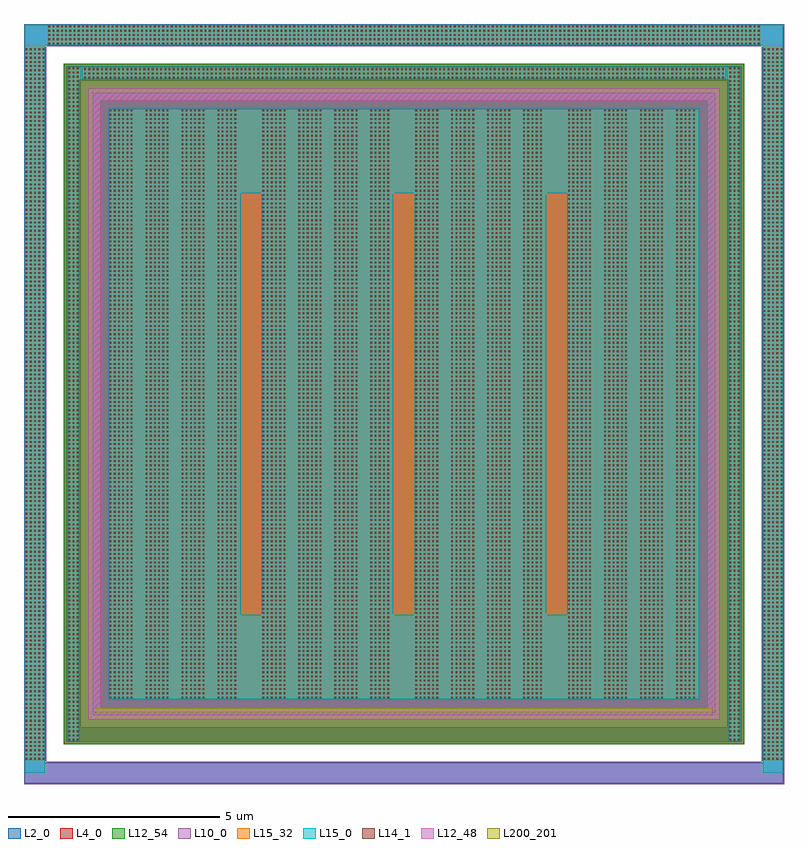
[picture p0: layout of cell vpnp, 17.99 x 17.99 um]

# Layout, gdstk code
import gdstk
lib = gdstk.Library(unit=1e-6, precision=1e-09)
def R(c, l, rs):  # rectangles x0, y0, x1, y1
    for r in rs: c.add(gdstk.rectangle(r[:2], r[2:], *l))
def A(c, l, x, y, w, h, nx, ny, dx, dy):  # array of equal rectangles
    R(c, l, [(x+i*dx, y+j*dy, x+i*dx+w, y+j*dy+h) for i in range(nx) for j in range(ny)])
L2_0 = (2, 0)
L4_0 = (4, 0)
L10_0 = (10, 0)
L12_48 = (12, 48)
L12_54 = (12, 54)
L14_1 = (14, 1)
L15_0 = (15, 0)
L15_32 = (15, 32)
L200_201 = (200, 201)

vpnp = lib.new_cell('vpnp')
R(vpnp, L2_0, [(-15.479,-7.509,2.473,-7.029), (-15.479,-7.029,-14.999,9.963), (1.993,-7.029,2.473,9.963), (-14.499,-6.529,1.493,-6.189), (-14.499,-6.189,-14.159,9.123), (1.153,-6.189,1.493,9.123), (-13.803,-5.833,0.797,8.767), (-14.499,9.123,1.493,9.463), (-15.479,9.963,2.473,10.443)])
R(vpnp, L4_0, [(-14.555,-6.585,1.549,9.519)])
R(vpnp, L10_0, [(-15.5,-7.53,2.494,-7.008), (-15.5,-7.008,-14.978,9.942), (1.972,-7.008,2.494,9.942), (-13.873,-5.903,0.867,8.837), (-15.5,9.942,2.494,10.464)])
R(vpnp, L12_48, [(-13.984,-6.014,0.978,-5.708), (-13.984,-5.708,-13.678,8.642), (0.672,-5.708,0.978,8.642), (-13.984,8.642,0.978,8.948)])
R(vpnp, L12_54, [(-14.555,-6.585,1.549,9.519)])
A(vpnp, L14_1, -15.459, -6.953, 0.04, 0.04, 5, 169, 0.1, 0.1)
A(vpnp, L14_1, 2.013, -6.953, 0.04, 0.04, 5, 169, 0.1, 0.1)
A(vpnp, L14_1, -14.449, -6.503, 0.04, 0.04, 3, 160, 0.1, 0.1)
A(vpnp, L14_1, 1.203, -6.503, 0.04, 0.04, 3, 160, 0.1, 0.1)
A(vpnp, L14_1, -13.473, -5.503, 0.04, 0.04, 6, 140, 0.1, 0.1)
A(vpnp, L14_1, -12.621, -5.503, 0.04, 0.04, 6, 140, 0.1, 0.1)
A(vpnp, L14_1, -11.769, -5.503, 0.04, 0.04, 6, 140, 0.1, 0.1)
A(vpnp, L14_1, -10.917, -5.503, 0.04, 0.04, 5, 140, 0.1, 0.1)
A(vpnp, L14_1, -9.854, -5.503, 0.04, 0.04, 6, 140, 0.1, 0.1)
A(vpnp, L14_1, -9.002, -5.503, 0.04, 0.04, 6, 140, 0.1, 0.1)
A(vpnp, L14_1, -8.15, -5.503, 0.04, 0.04, 6, 140, 0.1, 0.1)
A(vpnp, L14_1, -7.298, -5.503, 0.04, 0.04, 5, 140, 0.1, 0.1)
A(vpnp, L14_1, -6.235, -5.503, 0.04, 0.04, 6, 140, 0.1, 0.1)
A(vpnp, L14_1, -5.383, -5.503, 0.04, 0.04, 6, 140, 0.1, 0.1)
A(vpnp, L14_1, -4.531, -5.503, 0.04, 0.04, 6, 140, 0.1, 0.1)
A(vpnp, L14_1, -3.679, -5.503, 0.04, 0.04, 5, 140, 0.1, 0.1)
A(vpnp, L14_1, -2.616, -5.503, 0.04, 0.04, 6, 140, 0.1, 0.1)
A(vpnp, L14_1, -1.764, -5.503, 0.04, 0.04, 6, 140, 0.1, 0.1)
A(vpnp, L14_1, -0.912, -5.503, 0.04, 0.04, 6, 140, 0.1, 0.1)
A(vpnp, L14_1, -0.06, -5.503, 0.04, 0.04, 5, 140, 0.1, 0.1)
A(vpnp, L14_1, -14.073, 9.173, 0.04, 0.04, 152, 3, 0.1, 0.1)
A(vpnp, L14_1, -14.923, 9.983, 0.04, 0.04, 169, 5, 0.1, 0.1)
A(vpnp, L15_0, -13.491, -3.521, 3.119, 9.976, 4, 1, 3.619, 0)
R(vpnp, L15_0, [(-15.477,-7.269,-15.001,10.441), (1.995,-7.269,2.471,10.441), (-14.467,-6.521,-14.191,9.455), (1.185,-6.521,1.461,9.455), (-13.491,-5.521,0.485,-3.521), (-13.491,6.455,0.485,8.455), (-14.191,9.155,1.185,9.455), (-15.001,9.965,1.995,10.441)])
R(vpnp, L15_32, [(-15.477,-6.971,-15.001,9.965), (1.995,-6.971,2.471,9.965), (-14.467,-6.521,-14.191,9.455), (1.185,-6.521,1.461,9.455), (-13.491,-5.521,0.485,8.455), (-14.091,9.155,1.085,9.431), (-14.941,9.965,1.935,10.441)])
R(vpnp, L200_201, [(-13.803,-5.833,0.797,-5.733)])

lib.write_gds('vpnp.gds')
